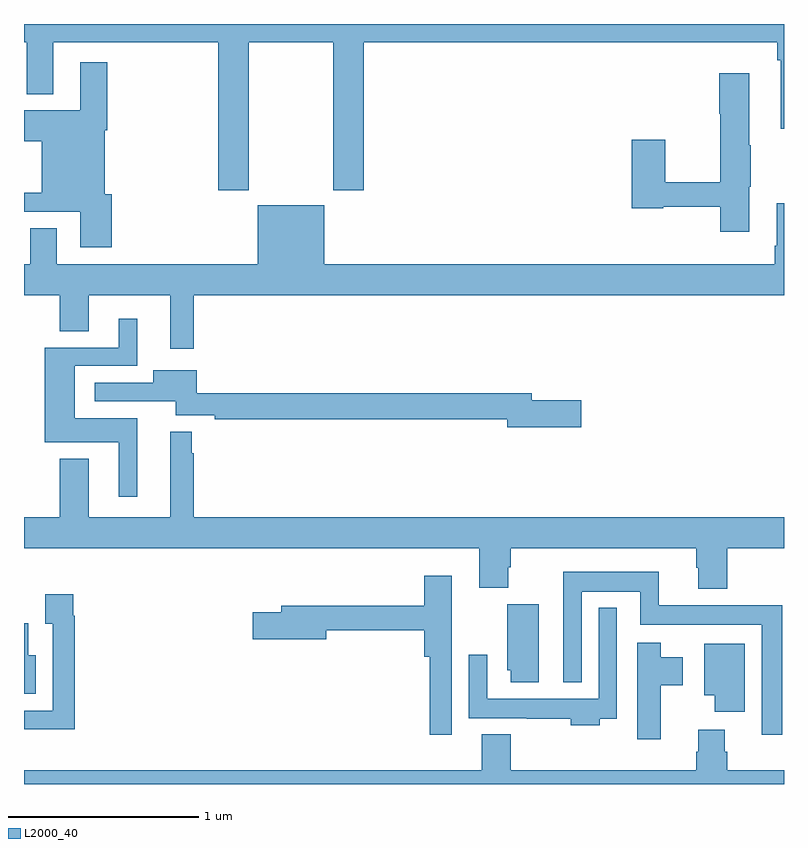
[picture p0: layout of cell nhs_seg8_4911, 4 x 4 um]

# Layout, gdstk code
import gdstk
lib = gdstk.Library(unit=1e-6, precision=1e-09)
def P(c, l, *ps):  # polygons
    for p in ps: c.add(gdstk.Polygon(p, *l))
L2000_40 = (2000, 40)

nhs_seg8_4911 = lib.new_cell('nhs_seg8_4911')
P(nhs_seg8_4911, L2000_40, [(408.183,1145.804),(408.628,1145.804),(408.628,1145.025),(408.788,1145.025),(408.788,1145.804),(410.965,1145.804),(410.965,1145.708),(410.984,1145.708),(410.984,1145.349),(411,1145.349),(411,1145.9),(407,1145.9),(407,1145.804),(407.015,1145.804),(407.015,1145.531),(407.155,1145.531),(407.155,1145.804),(408.023,1145.804),(408.023,1145.025),(408.183,1145.025)],
  [(407.462,1145.004),(407.425,1145.004),(407.425,1145.342),(407.438,1145.342),(407.438,1145.698),(407.297,1145.698),(407.297,1145.446),(407,1145.446),(407,1145.282),(407.093,1145.282),(407.093,1145.012),(407,1145.012),(407,1144.911),(407.297,1144.911),(407.297,1144.725),(407.462,1144.725)],
  [(410.818,1145.043),(410.826,1145.043),(410.826,1145.261),(410.818,1145.261),(410.818,1145.641),(410.66,1145.641),(410.66,1145.428),(410.665,1145.428),(410.665,1145.066),(410.376,1145.066),(410.376,1145.29),(410.198,1145.29),(410.198,1144.93),(410.364,1144.93),(410.364,1144.938),(410.665,1144.938),(410.665,1144.806),(410.818,1144.806)],
  [(407.893,1144.472),(411,1144.472),(411,1144.957),(410.963,1144.957),(410.963,1144.732),(410.951,1144.732),(410.951,1144.636),(408.58,1144.636),(408.58,1144.945),(408.23,1144.945),(408.23,1144.636),(407.173,1144.636),(407.173,1144.826),(407.033,1144.826),(407.033,1144.636),(407,1144.636),(407,1144.472),(407.189,1144.472),(407.189,1144.282),(407.341,1144.282),(407.341,1144.472),(407.771,1144.472),(407.771,1144.191),(407.893,1144.191)],
  [(407.596,1143.826),(407.266,1143.826),(407.266,1144.101),(407.596,1144.101),(407.596,1144.348),(407.498,1144.348),(407.498,1144.197),(407.108,1144.197),(407.108,1143.698),(407.498,1143.698),(407.498,1143.411),(407.596,1143.411)],
  [(409.933,1143.92),(409.672,1143.92),(409.672,1143.956),(407.908,1143.956),(407.908,1144.078),(407.681,1144.078),(407.681,1144.011),(407.373,1144.011),(407.373,1143.915),(407.798,1143.915),(407.798,1143.84),(408.004,1143.84),(408.004,1143.82),(409.544,1143.82),(409.544,1143.778),(409.933,1143.778)],
  [(410.702,1143.14),(411,1143.14),(411,1143.304),(407.893,1143.304),(407.893,1143.641),(407.882,1143.641),(407.882,1143.754),(407.771,1143.754),(407.771,1143.304),(407.341,1143.304),(407.341,1143.613),(407.189,1143.613),(407.189,1143.304),(407,1143.304),(407,1143.14),(409.397,1143.14),(409.397,1142.932),(409.549,1142.932),(409.549,1143.041),(409.562,1143.041),(409.562,1143.14),(410.537,1143.14),(410.537,1143.039),(410.549,1143.039),(410.549,1142.927),(410.702,1142.927)],
  [(410.992,1142.842),(410.342,1142.842),(410.342,1143.016),(409.838,1143.016),(409.838,1142.435),(409.935,1142.435),(409.935,1142.912),(410.244,1142.912),(410.244,1142.738),(410.883,1142.738),(410.883,1142.16),(410.992,1142.16)],
  [(409.251,1142.733),(409.252,1142.733),(409.252,1142.995),(409.106,1142.995),(409.106,1142.839),(408.353,1142.839),(408.353,1142.805),(408.204,1142.805),(408.204,1142.663),(408.592,1142.663),(408.592,1142.71),(409.106,1142.71),(409.106,1142.57),(409.135,1142.57),(409.135,1142.16),(409.251,1142.16)],
  [(407.267,1142.786),(407.26,1142.786),(407.26,1142.899),(407.111,1142.899),(407.111,1142.743),(407.151,1142.743),(407.151,1142.286),(407,1142.286),(407,1142.189),(407.267,1142.189)],
  [(409.708,1142.847),(409.544,1142.847),(409.544,1142.499),(409.562,1142.499),(409.562,1142.436),(409.708,1142.436)],
  [(410.029,1142.244),(410.121,1142.244),(410.121,1142.827),(410.025,1142.827),(410.025,1142.35),(409.437,1142.35),(409.437,1142.581),(409.341,1142.581),(409.341,1142.246),(409.645,1142.246),(409.645,1142.244),(409.877,1142.244),(409.877,1142.21),(410.029,1142.21)],
  [(407.062,1142.578),(407.023,1142.578),(407.023,1142.746),(407,1142.746),(407,1142.375),(407.062,1142.375)],
  [(410.35,1142.419),(410.467,1142.419),(410.467,1142.566),(410.35,1142.566),(410.35,1142.644),(410.228,1142.644),(410.228,1142.136),(410.35,1142.136)],
  [(410.794,1142.638),(410.579,1142.638),(410.579,1142.366),(410.636,1142.366),(410.636,1142.28),(410.794,1142.28)],
  [(411,1141.972),(410.702,1141.972),(410.702,1142.07),(410.689,1142.07),(410.689,1142.185),(410.549,1142.185),(410.549,1142.07),(410.537,1142.07),(410.537,1141.972),(409.562,1141.972),(409.562,1142.161),(409.409,1142.161),(409.409,1141.972),(407,1141.972),(407,1141.9),(411,1141.9)])

lib.write_gds('nhs_seg8_4911.gds')
